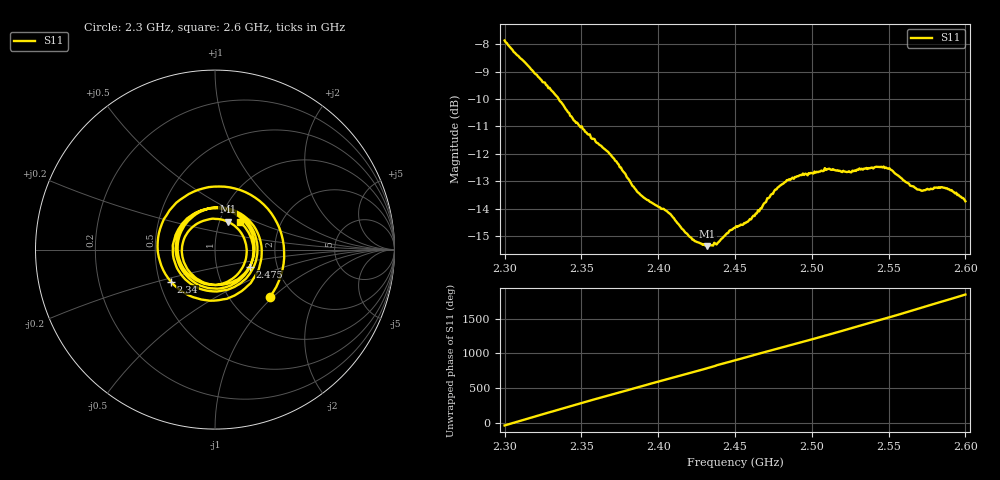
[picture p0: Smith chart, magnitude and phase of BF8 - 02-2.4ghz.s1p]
! NanoVNA-App
! Date: 2026-05-22 16:35:52
! Start: 2.3GHz Stop: 2.6GHz Points: 401
! S-Parameter data: F S11
# Hz S RI R 50
!  Frequency  S11_Real  S11_Imag
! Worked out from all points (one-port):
!   401 points, 2.3 GHz to 2.6 GHz, reference 50 ohm
!   lowest |S11| = -15.4 dB at 2.432 GHz (marker M1), VSWR 1.41, Z = 54.7 + j17.5 ohm
!   |S11| at or under -10 dB: 2.335 GHz to end of sweep
!   S11 on the Smith chart (normalised r, x): 2.3 GHz: 1.51, -0.96; 2.34 GHz: 0.57, -0.23; 2.475 GHz: 1.45, -0.29; 2.6 GHz: 1.25, +0.40
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2.3e9  0.3055 -0.2647
2.309e9  0.3599 0.1175
2.31875e9  0.0537 0.3505
2.3285e9  -0.2701 0.1911
2.3375e9  -0.2882 -0.1147
2.33975e9  -0.245 -0.1787
2.34875e9  0.022 -0.2817
2.35925e9  0.2499 -0.0866
2.375e9  0.0538 0.2313
2.3915e9  -0.2083 0.00127
2.40275e9  -0.0755 -0.1846
2.4125e9  0.1076 -0.1541
2.42225e9  0.1748 0.0135
2.432e9  0.0711 0.1551
2.45e9  -0.1842 0.0037
2.4635e9  -0.0283 -0.1935
2.4755e9  0.1931 -0.0944
2.4875e9  0.1595 0.1621
2.49725e9  -0.0547 0.223
2.5085e9  -0.2355 0.0239
2.525e9  0.0301 -0.2307
2.54e9  0.2301 0.0537
2.55125e9  0.0231 0.2341
2.5625e9  -0.2062 0.0832
2.57e9  -0.1905 -0.1022
2.57975e9  0.0134 -0.2178
2.59025e9  0.2053 -0.0656
2.6e9  0.1386 0.1523
